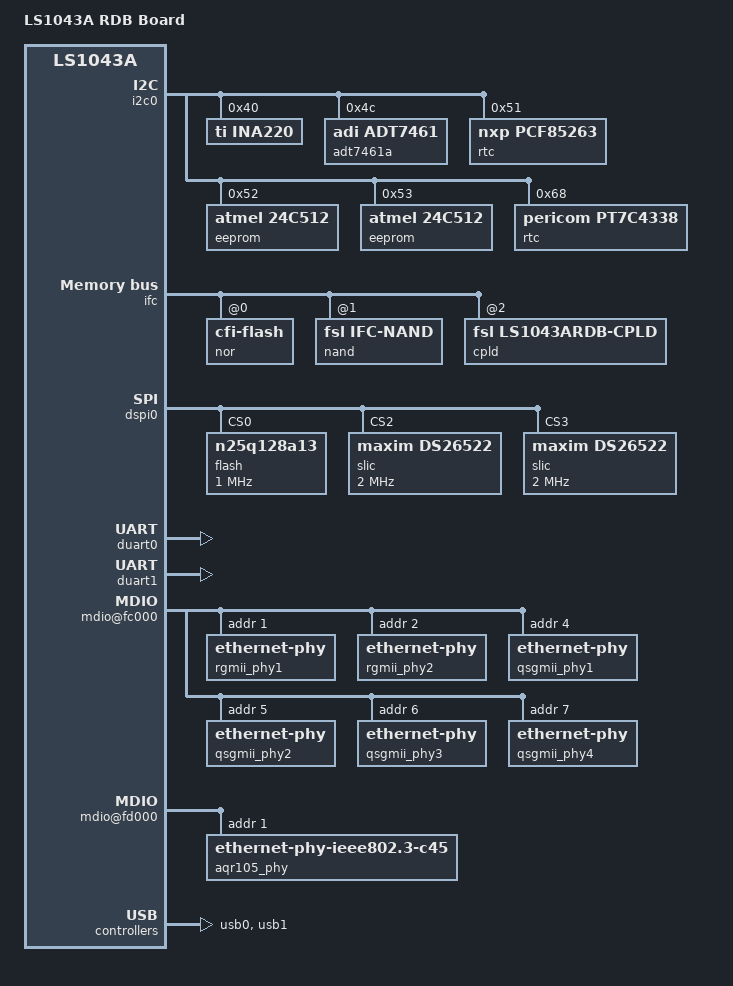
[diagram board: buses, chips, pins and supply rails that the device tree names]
// SPDX-License-Identifier: (GPL-2.0+ OR MIT)
/*
 * Device Tree Include file for Freescale Layerscape-1043A family SoC.
 *
 * Copyright 2014-2015 Freescale Semiconductor, Inc.
 * Copyright 2018 NXP
 *
 * Mingkai Hu <Mingkai.hu@freescale.com>
 */

/dts-v1/;
#include "fsl-ls1043a.dtsi"

/ {
	model = "LS1043A RDB Board";
	compatible = "fsl,ls1043a-rdb", "fsl,ls1043a";

	aliases {
		serial0 = &duart0;
		serial1 = &duart1;
		serial2 = &duart2;
		serial3 = &duart3;
	};

	chosen {
		stdout-path = "serial0:115200n8";
	};
};

&i2c0 {
	status = "okay";

	ina220@40 {
		compatible = "ti,ina220";
		reg = <0x40>;
		shunt-resistor = <1000>;
	};

	adt7461a@4c {
		compatible = "adi,adt7461";
		reg = <0x4c>;
	};

	rtc@51 {
		compatible = "nxp,pcf85263";
		reg = <0x51>;
	};

	eeprom@52 {
		compatible = "atmel,24c512";
		reg = <0x52>;
	};

	eeprom@53 {
		compatible = "atmel,24c512";
		reg = <0x53>;
	};

	rtc@68 {
		compatible = "pericom,pt7c4338";
		reg = <0x68>;
	};
};

&ifc {
	status = "okay";
	#address-cells = <2>;
	#size-cells = <1>;
	/* NOR, NAND Flashes and FPGA on board */
	ranges = <0x0 0x0 0x0 0x60000000 0x08000000
		  0x1 0x0 0x0 0x7e800000 0x00010000
		  0x2 0x0 0x0 0x7fb00000 0x00000100>;

		nor@0,0 {
			compatible = "cfi-flash";
			#address-cells = <1>;
			#size-cells = <1>;
			reg = <0x0 0x0 0x8000000>;
			big-endian;
			bank-width = <2>;
			device-width = <1>;
		};

		nand@1,0 {
			compatible = "fsl,ifc-nand";
			#address-cells = <1>;
			#size-cells = <1>;
			reg = <0x1 0x0 0x10000>;
		};

		cpld: board-control@2,0 {
			compatible = "fsl,ls1043ardb-cpld";
			reg = <0x2 0x0 0x0000100>;
		};
};

&dspi0 {
	bus-num = <0>;
	status = "okay";

	flash@0 {
		#address-cells = <1>;
		#size-cells = <1>;
		compatible = "n25q128a13", "jedec,spi-nor";  /* 16MB */
		reg = <0>;
		spi-max-frequency = <1000000>; /* input clock */
		fsl,spi-cs-sck-delay = <100>;
		fsl,spi-sck-cs-delay = <100>;
	};

	slic@2 {
		compatible = "maxim,ds26522";
		reg = <2>;
		spi-max-frequency = <2000000>;
		fsl,spi-cs-sck-delay = <100>;
		fsl,spi-sck-cs-delay = <50>;
	};

	slic@3 {
		compatible = "maxim,ds26522";
		reg = <3>;
		spi-max-frequency = <2000000>;
		fsl,spi-cs-sck-delay = <100>;
		fsl,spi-sck-cs-delay = <50>;
	};
};

&duart0 {
	status = "okay";
};

&duart1 {
	status = "okay";
};

#include "fsl-ls1043-post.dtsi"

&fman0 {
	ethernet@e0000 {
		phy-handle = <&qsgmii_phy1>;
		phy-connection-type = "qsgmii";
	};

	ethernet@e2000 {
		phy-handle = <&qsgmii_phy2>;
		phy-connection-type = "qsgmii";
	};

	ethernet@e4000 {
		phy-handle = <&rgmii_phy1>;
		phy-connection-type = "rgmii-id";
	};

	ethernet@e6000 {
		phy-handle = <&rgmii_phy2>;
		phy-connection-type = "rgmii-id";
	};

	ethernet@e8000 {
		phy-handle = <&qsgmii_phy3>;
		phy-connection-type = "qsgmii";
	};

	ethernet@ea000 {
		phy-handle = <&qsgmii_phy4>;
		phy-connection-type = "qsgmii";
	};

	ethernet@f0000 { /* 10GEC1 */
		phy-handle = <&aqr105_phy>;
		phy-connection-type = "xgmii";
	};

	mdio@fc000 {
		rgmii_phy1: ethernet-phy@1 {
			reg = <0x1>;
		};

		rgmii_phy2: ethernet-phy@2 {
			reg = <0x2>;
		};

		qsgmii_phy1: ethernet-phy@4 {
			reg = <0x4>;
		};

		qsgmii_phy2: ethernet-phy@5 {
			reg = <0x5>;
		};

		qsgmii_phy3: ethernet-phy@6 {
			reg = <0x6>;
		};

		qsgmii_phy4: ethernet-phy@7 {
			reg = <0x7>;
		};
	};

	mdio@fd000 {
		aqr105_phy: ethernet-phy@1 {
			compatible = "ethernet-phy-ieee802.3-c45";
			interrupts = <0 132 4>;
			reg = <0x1>;
		};
	};
};

&uqe {
	ucc_hdlc: ucc@2000 {
		compatible = "fsl,ucc-hdlc";
		rx-clock-name = "clk8";
		tx-clock-name = "clk9";
		fsl,rx-sync-clock = "rsync_pin";
		fsl,tx-sync-clock = "tsync_pin";
		fsl,tx-timeslot-mask = <0xfffffffe>;
		fsl,rx-timeslot-mask = <0xfffffffe>;
		fsl,tdm-framer-type = "e1";
		fsl,tdm-id = <0>;
		fsl,siram-entry-id = <0>;
		fsl,tdm-interface;
	};
};

&usb0 {
	status = "okay";
};

&usb1 {
	status = "okay";
};
